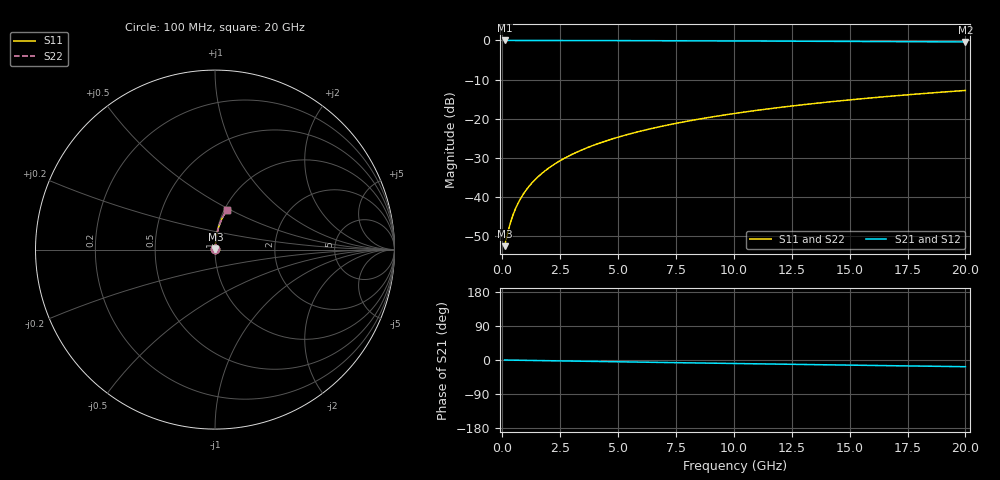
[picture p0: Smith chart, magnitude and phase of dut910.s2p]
! Touchstone file exported from HFSS 2024.1.0
!  File:  C:/UserFiles/LocalFiles/RDL_TSV_Batchsim/temp_RDL_bottom_910_1779940419.aedt
!  Generated:  11:56:47 AM May 28, 2026
!  Design:  RDL_bottom
!  Project:  temp_RDL_bottom_910_1779940419
!  Setup:  Setup1
!  Solution:  Sweep
! Variables:
!  dtsv = 10.80580581um
!  hbump = 3um
!  htsv = 85.38um
!  ldown = 198.41um
!  lrdl = 100um
!  p = 40
!  p1 = 41.52um
!  rhole = 1um
!  t = 450um
!  tdown = 3.39um
!  trdl = 3.915915916um
!  wdown = 11.08um
!  wrdl = 20um
# GHz S MA R 50.000000
! Terminal data exported
! Port[1] = RDL1_T1
! Port[2] = RDL1_T2
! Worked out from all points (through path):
!   200 points, 100 MHz to 20 GHz, reference 50 ohm
!   highest |S21| = -0.02 dB at 100 MHz (marker M1); lowest = -0.4 dB at 20 GHz (marker M2)
!   group delay of S21, straight-line fit = 2.45 ps
!   lowest |S11| = -52.6 dB at 100 MHz (marker M3), VSWR 1.00, Z = 50.2 + j0.12 ohm
!   |S11| at or under -10 dB: start of sweep to end of sweep
!   |S22| runs from -52.6 to -12.8 dB; largest |S21 - S12| = 3.4e-15
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0.1  0.002347 30.7  0.998 -0.1  0.998 -0.1  0.002347 30.7
! Gamma 0 0 0 0
! Port Impedance 50 0 50 0
0.3  0.004131 59.8  0.9979 -0.3  0.9979 -0.3  0.004131 59.8
0.4  0.005194 66.0  0.9979 -0.4  0.9979 -0.4  0.005194 66.0
0.5  0.006289 69.9  0.9978 -0.5  0.9978 -0.5  0.006289 69.9
0.6  0.007398 72.7  0.9978 -0.6  0.9978 -0.6  0.007398 72.7
0.8  0.009639 76.3  0.9977 -0.8  0.9977 -0.8  0.009639 76.3
1.1  0.01303 79.4  0.9975 -1.1  0.9975 -1.1  0.01303 79.4
1.3  0.0153 80.6  0.9974 -1.3  0.9974 -1.3  0.0153 80.6
1.5  0.01758 81.5  0.9973 -1.4  0.9973 -1.4  0.01758 81.5
1.8  0.02101 82.5  0.9971 -1.7  0.9971 -1.7  0.02101 82.5
2.1  0.02445 83.2  0.9969 -2.0  0.9969 -2.0  0.02445 83.2
2.7  0.03135 83.9  0.9964 -2.6  0.9964 -2.6  0.03135 83.9
3.5  0.04058 84.3  0.9956 -3.3  0.9956 -3.3  0.04058 84.3
4.2  0.04868 84.3  0.9947 -4.0  0.9947 -4.0  0.04868 84.3
5  0.05796 84.2  0.9935 -4.7  0.9935 -4.7  0.05796 84.2
5.9  0.06842 83.8  0.992 -5.6  0.992 -5.6  0.06842 83.8
6.8  0.0789 83.4  0.9903 -6.4  0.9903 -6.4  0.07889 83.4
8.3  0.09637 82.5  0.9872 -7.7  0.9872 -7.7  0.09637 82.5
10.1  0.1173 81.3  0.9832 -9.3  0.9832 -9.3  0.1173 81.3
13.4  0.1554 78.8  0.9748 -12.2  0.9748 -12.2  0.1554 78.8
16.7  0.1928 76.1  0.9656 -15.0  0.9656 -15.0  0.1928 76.1
20  0.2292 73.5  0.9556 -17.7  0.9556 -17.7  0.2292 73.5
